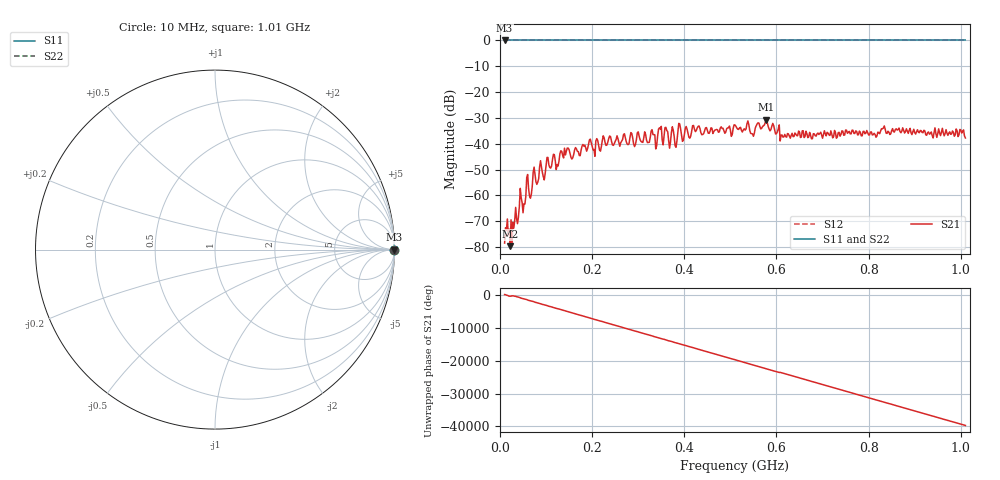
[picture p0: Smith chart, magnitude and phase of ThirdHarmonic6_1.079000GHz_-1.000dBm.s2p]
! 8/16/2025 9:53:38 AM
! C:\ANRITSUVNA\TEMP\TEMP.S2P
! CHANNEL.1
! TR.MEASUREMENT
! RAW.DATA
! RF.CORRECTION.OFF
! AVERAGING.OFF
! IF.BANDWIDTH: 5KHZ
! SWEEPTYPE:  FREQ.SWEEP(Linear)
! Reference Plane Port Info
! PORT:  PORT1  PORT2
! DISTANCE:  0  m  0  m
! TIME:  0  s  0  s
! PHASE.OFFSET:  0  deg.  0  deg.
! LOSS:  0  dB  0  dB
! REF.LOSS:  0  dB  0  dB
! REF.FREQ:  0  Hz  0  Hz
! Power Info
! POWER:  -20  dBm  -20  dBm
! EFF.POWER:  -20  dBm  -20  dBm
! SOURCE.ATTEN:  0  dB  0  dB
! TEST.ATTEN:  0  dB  0  dB
# GHZ S RI R 50.0
! FREQ.GHZ  S11RE  S11IM  S21RE  S21IM  S12RE  S12IM  S22RE  S22IM
!; PortSelection: Port_12
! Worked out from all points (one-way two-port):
!   501 points, 10 MHz to 1.01 GHz, reference 50 ohm
!   highest |S21| = -30.63 dB at 578 MHz (marker M1); lowest = -79.6 dB at 22 MHz (marker M2)
!   lowest |S11| = 0.0 dB at 10 MHz (marker M3)
!   |S11| at or under -10 dB: nowhere
!   |S22| runs from 0.0 to 0.0 dB; largest |S21 - S12| = 1
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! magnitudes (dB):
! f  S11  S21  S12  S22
! 10 MHz  0.0  -78.4  0.0  0.0
! 16 MHz  0.0  -69.1  0.0  0.0
! 22 MHz  0.0  -79.6  0.0  0.0
! 44 MHz  0.0  -57.3  0.0  0.0
! 52 MHz  0.0  -63.2  0.0  0.0
! 60 MHz  0.0  -51.9  0.0  0.0
! 66 MHz  0.0  -61.1  0.0  0.0
! 74 MHz  0.0  -49.0  0.0  0.0
! 124 MHz  0.0  -48.0  0.0  0.0
! 144 MHz  0.0  -42.9  0.0  0.0
! 178 MHz  0.0  -40.9  0.0  0.0
! 344 MHz  0.0  -34.4  0.0  0.0
! 382 MHz  0.0  -41.4  0.0  0.0
! 390 MHz  0.0  -32.3  0.0  0.0
! 396 MHz  0.0  -39.1  0.0  0.0
! 510 MHz  0.0  -32.7  0.0  0.0
! 548 MHz  0.0  -36.2  0.0  0.0
! 578 MHz  0.0  -30.6  0.0  0.0
! 612 MHz  0.0  -36.6  0.0  0.0
! 678 MHz  0.0  -38.0  0.0  0.0
! 844 MHz  0.0  -35.5  0.0  0.0
! 1.01 GHz  0.0  -37.7  0.0  0.0
